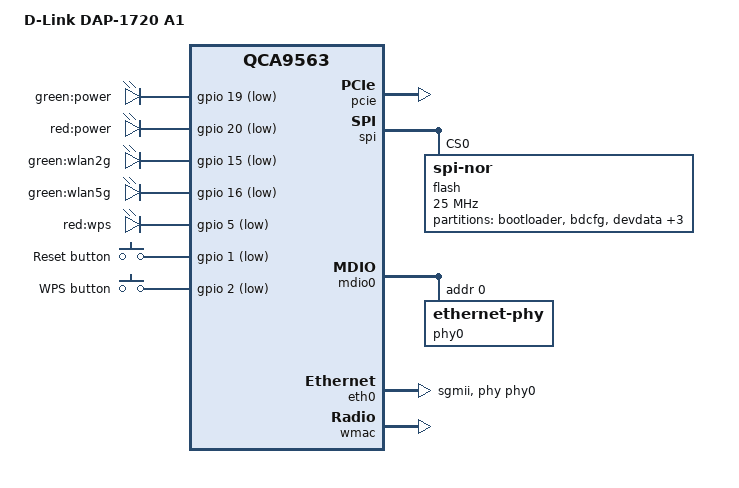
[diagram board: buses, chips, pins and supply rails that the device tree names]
// SPDX-License-Identifier: GPL-2.0-or-later OR MIT

#include "qca956x.dtsi"

#include <dt-bindings/gpio/gpio.h>
#include <dt-bindings/input/input.h>

/ {
	compatible = "dlink,dap-1720-a1", "qca,qca9563";
	model = "D-Link DAP-1720 A1";

	aliases {
		led-boot = &status_red;
		led-failsafe = &status_red;
		led-running = &status_green;
		led-upgrade = &status_green;

		label-mac-device = &eth0;
	};

	leds {
		compatible = "gpio-leds";

		status_green: power_green {
			label = "green:power";
			gpios = <&gpio 19 GPIO_ACTIVE_LOW>;
		};

		status_red: power_red {
			label = "red:power";
			gpios = <&gpio 20 GPIO_ACTIVE_LOW>;
		};

		wlan2g {
			label = "green:wlan2g";
			gpios = <&gpio 15 GPIO_ACTIVE_LOW>;
			linux,default-trigger = "phy1tpt";
		};

		wlan5g {
			label = "green:wlan5g";
			gpios = <&gpio 16 GPIO_ACTIVE_LOW>;
			linux,default-trigger = "phy0tpt";
		};

		wps_red {
			label = "red:wps";
			gpios = <&gpio 5 GPIO_ACTIVE_LOW>;
		};
	};

	keys {
		compatible = "gpio-keys-polled";
		poll-interval = <20>;

		reset {
			label = "Reset button";
			linux,code = <KEY_RESTART>;
			gpios = <&gpio 1 GPIO_ACTIVE_LOW>;
			debounce-interval = <60>;
		};

		wps {
			label = "WPS button";
			linux,code = <KEY_WPS_BUTTON>;
			gpios = <&gpio 2 GPIO_ACTIVE_LOW>;
			debounce-interval = <60>;
		};
	};

};

&pcie {
	status = "okay";
};

&spi {
	status = "okay";

	flash@0 {
		compatible = "jedec,spi-nor";
		reg = <0>;
		spi-max-frequency = <25000000>;

		partitions: partitions {
			compatible = "fixed-partitions";
			#address-cells = <1>;
			#size-cells = <1>;
			
			partition@0 {
				label = "bootloader";
				reg = <0x000000 0x40000>;
				read-only;
			};
		
			partition@40000 {
				label = "bdcfg";
				reg = <0x040000 0x10000>;
				read-only;
			};
		
			partition@50000 {
				label = "devdata";
				reg = <0x050000 0x10000>;
				read-only;
			};
		
			partition@60000 {
				label = "devconf";
				reg = <0x060000 0x10000>;
				read-only;
			};
		
			partition@70000 {
				compatible = "seama";
				label = "firmware";
				reg = <0x070000 0xf80000>;
			};
		
			art: partition@ff0000 {
				label = "art";
				reg = <0xff0000 0x010000>;
				read-only;
			};
		};
	};
};

&mdio0 {
	status = "okay";

	phy-mask = <0>;
	phy0: ethernet-phy@0 {
		reg = <0>;
		phy-mode = "sgmii";
	};
};

&eth0 {
	status = "okay";

	phy-mode = "sgmii";
	phy-handle = <&phy0>;

	pll-data = <0x03000000 0x00000101 0x00001313>;
};

&wmac {
	status = "okay";

	mtd-cal-data = <&art 0x1000>;
};
